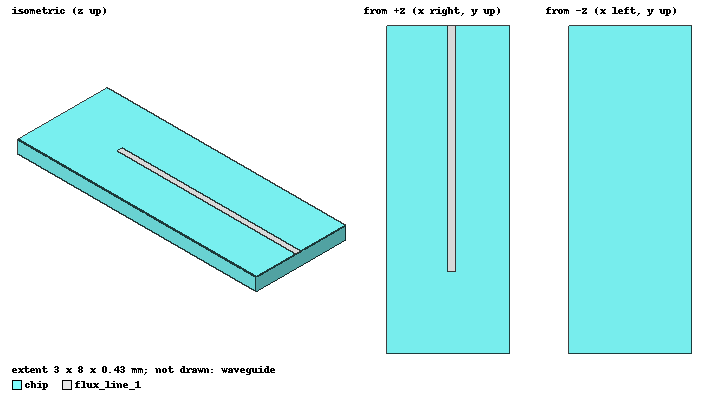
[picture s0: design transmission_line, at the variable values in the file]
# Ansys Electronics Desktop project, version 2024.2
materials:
  vacuum: permittivity=1
  sapphire: permittivity=10
  air: permittivity=1.0006 permeability=1.0000004
  perfect conductor: conductivity=1e+30
  copper: permeability=0.999991 conductivity=58000000

design filter_testchip_pogo (HFSS, HFSS Terminal Network, model units mm)
options: Save_Adaptive_support_files
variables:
  arm_radius = 2.75mm
  arm_holder_radius = 0.5mm
  chip_len = 22mm
  chip_width = 5.5mm
  chip_thickness = 0.43mm
  line_separation = 0um
  line_position = 1mm
  section1_width = 600um
  section1_length = 6.9mm
  section2_width = 30um
  section2_length = 2.8mm
  stub1_width = 200um
  stub1_length = 5mm
  stub2_width = 684um
  section3_length = 2.8mm
  section4_length = 6.9mm
  section4_width = 600um
  stub1_bendlength = 2.5mm
  port_tip_radius = 0.14mm
  port_pin_radius = 0.255mm
  port_tip_len = 1.685mm
  port_pin_len = 10.5mm
  port_waveguide_radius = 0.6mm
  port_y_position = 1.6mm
  terminal_len = 0.6mm
  terminal_width = 2mm
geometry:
  arm_holder_2 = cylinder(axis=Y, base_centre=(arm_radius, 0mm, 0), radius=arm_holder_radius, height=chip_len)
  arm_holder_1 = cylinder(axis=Y, base_centre=(-arm_radius, 0mm, 0), radius=arm_holder_radius, height=chip_len)
  chip [sapphire] = box(corner=(-0.5*chip_width, 0, -0.5*chip_thickness), size=(chip_width, chip_len, chip_thickness))
  coordinate_system chip_ref = origin=(0mm, 0, 0.5*chip_thickness) x=(1mm, 0mm, 0mm) y=(0mm, 1mm, 0mm)
  coordinate_system line_terminal_ref = origin=(line_position, chip_len-port_y_position+terminal_len/2, 0) x=(1mm, 0mm, 0mm) y=(0mm, 1mm, 0mm) in chip_ref
  waveguide [vacuum] = box(corner=(-arm_radius, 0, -arm_holder_radius), size=(2*arm_radius, chip_len, 2*arm_holder_radius))
  waveguide.unite(arm_holder_1, arm_holder_2)
  flux_line_section1 = rectangle(corner=(0, 0mm, 0mm), x_size=(section1_width-line_separation)/2, y_size=-section1_length) in line_terminal_ref
  signal_line = rectangle(corner=((section1_width + line_separation)/2, 0mm, 0mm), x_size=(section1_width-line_separation)/2, y_size=-section1_length) in line_terminal_ref
  flux_line_section1.unite(signal_line)
  flux_line_section4 = rectangle(corner=(0, - section1_length -section2_length-section3_length, 0mm), x_size=(section4_width-line_separation)/2, y_size=-section4_length) in line_terminal_ref
  signal_line3 = rectangle(corner=((section4_width + line_separation)/2, - section1_length -section2_length-section3_length, 0mm), x_size=(section4_width-line_separation)/2, y_size=-section4_length) in line_terminal_ref
  flux_line_section4.unite(signal_line3)
  terminal_port1 = rectangle(corner=(0, 0mm, 0mm), x_size=-terminal_width, y_size=-terminal_len) in line_terminal_ref
  coordinate_system port_1_ref = origin=(0mm, chip_len - port_y_position, 0mm) x=(1mm, 0mm, 0mm) y=(0mm, 1mm, 0mm) in chip_ref
  pin_port1 [perfect conductor] = cylinder(axis=Z, base_centre=(0mm, 0mm, port_tip_len), radius=port_pin_radius, height=port_pin_len) in port_1_ref
  waveguide_pin_port1 = cylinder(axis=Z, base_centre=(0mm, 0mm, 0mm), radius=port_waveguide_radius, height=port_pin_len + port_tip_len) in port_1_ref
  coordinate_system port_2_ref = origin=(0mm, port_y_position, 0mm) x=(1mm, 0mm, 0mm) y=(0mm, 1mm, 0mm) in chip_ref
  pin_port2_tip [perfect conductor] = cylinder(axis=Z, base_centre=(0, 0, 0), radius=port_tip_radius, height=port_tip_len) in port_2_ref
  terminal_port2 = rectangle(corner=(0, - (section1_length + section2_length + section3_length + section4_length), 0mm), x_size=-terminal_width, y_size=terminal_len) in line_terminal_ref
  waveguide_pin_port2 = cylinder(axis=Z, base_centre=(0, 0, 0), radius=port_waveguide_radius, height=port_pin_len + port_tip_len) in port_2_ref
  Polyline1 = polyline(z=0mm, xy: (0mm, -section1_length) (-stub1_bendlength, -section1_length) (-stub1_bendlength, -section1_length + (stub1_length - stub1_bendlength-1mm)) (-stub1_bendlength+1.2mm, -section1_length + (stub1_length - stub1_bendlength-1mm))) in line_terminal_ref
  stub1 = polyline((0, -section1_length - stub1_width/2, 0mm) (0mm, -section1_length + stub1_width/2, 0mm)) in line_terminal_ref
  stub1.sweep_along_path(Polyline1)
  section2 = polyline((0, -section1_length, 0mm) (section2_width, -section1_length, 0mm)) in line_terminal_ref
  Polyline4 = polyline(z=0mm, xy: (section2_width/2, -section1_length) (section2_width/2, -section1_length -0.75mm) (section2_width/2+1.05mm, -section1_length -0.75mm) (section2_width/2+1.05mm, -section1_length -1.7mm) (section2_width/2, -section1_length -1.7mm) (section2_width/2, -section1_length -2.8mm)) in line_terminal_ref
  section2.sweep_along_path(Polyline4)
  section3 = polyline((0, -section1_length-section2_length, 0mm) (section2_width, -section1_length-section2_length, 0mm)) in line_terminal_ref
  Polyline6 = polyline(z=0mm, xy: (section2_width/2, -section1_length-section2_length) (section2_width/2, -section1_length-section2_length -0.75mm) (section2_width/2+1.05mm, -section1_length-section2_length -0.75mm) (section2_width/2+1.05mm, -section1_length -section2_length-1.7mm) (section2_width/2, -section1_length-section2_length -1.7mm) (section2_width/2, -section1_length-section2_length -2.8mm)) in line_terminal_ref
  section3.sweep_along_path(Polyline6)
  stub3 = polyline((0, -section1_length-section2_length-section3_length - stub1_width/2, 0mm) (0mm, -section1_length-section2_length-section3_length + stub1_width/2, 0mm)) in line_terminal_ref
  Polyline8 = polyline(z=0mm, xy: (0mm, -section1_length-section2_length-section3_length) (-stub1_bendlength, -section1_length-section2_length-section3_length) (-stub1_bendlength, -section1_length-section2_length-section3_length + (stub1_length - stub1_bendlength-1.0mm)) (-stub1_bendlength +1.2mm, -section1_length-section2_length-section3_length + (stub1_length - stub1_bendlength-1.0mm))) in line_terminal_ref
  stub3.sweep_along_path(Polyline8)
  waveguide.unite(waveguide_pin_port2, waveguide_pin_port1)
  Polyline9 = polyline(z=0mm, xy: (0mm, -section1_length-section2_length) (-2.8mm, -section1_length-section2_length) (-2.8mm, -section1_length-section2_length + 1.5mm) (-0.9mm, -section1_length-section2_length + 1.5mm)) in line_terminal_ref
  stub2 = polyline((0mm, -section1_length-section2_length-stub2_width/2, 0mm) (0mm, -section1_length-section2_length+stub2_width/2, 0mm)) in line_terminal_ref
  stub2.sweep_along_path(Polyline9)
  pin_port2 [perfect conductor] = cylinder(axis=Z, base_centre=(0, 0, port_tip_len), radius=port_pin_radius, height=port_pin_len) in port_2_ref
  pin_port1_tip [perfect conductor] = cylinder(axis=Z, base_centre=(0mm, 0mm, 0mm), radius=port_tip_radius, height=port_tip_len) in port_1_ref
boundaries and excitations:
  section1_PerfE: Perfect E Objects=flux_line_section1
  waveguide_PerfE: Perfect E Objects=waveguide
  terminal1_PerfE: Perfect E Objects=terminal_port1
  section2_PerfE: Perfect E Objects=flux_line_section4
  terminal2_PerfE: Perfect E Objects=terminal_port2
  filter_PerfE: Perfect E Objects=[stub2, stub1, section2, section3, stub3]
  pin_port1_T1: Terminal port=1 Faces=pin_port1.face(at (0, 20.4, 12.4)) TerminalResistance=50ohm
  pin_port2_T1: Terminal port=2 Faces=pin_port2.face(at (0, 1.6, 12.4)) TerminalResistance=50ohm
  1: Wave Port Faces=waveguide.face(at (0, 20.4, 12.4)) WavePortType=Terminal NumModes=1
  2: Wave Port Faces=waveguide.face(at (0, 1.6, 12.4)) WavePortType=Terminal NumModes=1
  reference conductors: waveguide
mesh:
  section1_mesh: LengthBased Objects=flux_line_section1 MaxLength=100um
  chip_mesh: LengthBased Faces=chip.face(+z) MaxLength=0.5mm
  section4_mesh: LengthBased Objects=flux_line_section4 MaxLength=100um
  terminals_mesh: LengthBased Objects=[terminal_port2, terminal_port1] MaxLength=100um
  stubs13_mesh: LengthBased Objects=[stub3, stub1] MaxLength=100um
  stub2_mesh: LengthBased Objects=stub2 MaxLength=100um
  sections23_mesh: LengthBased Objects=[section2, section3] MaxLength=10um
  waveguide_mesh: LengthBased Objects=waveguide MaxLength=1mm
  initial mesh: MeshMethod=AnsoftClassic
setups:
  Setup1: HfssDriven Frequency=10GHz MaxDeltaS=0.02 MaximumPasses=6 MinimumPasses=1 MinimumConvergedPasses=1 PercentRefinement=30 BasisOrder=-1 PortAccuracy=2 DrivenSolverType="Direct Solver"
    sweep Sweep: 100MHz to 10GHz, 601 points; Type=Interpolating InterpTolerance=0.5 InterpMaxSolns=250 InterpUsePortImped=false InterpUsePropConst=false PassivityErrorTolerance=0.0001
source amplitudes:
  1:1: 1V 0deg
  2:1: 0V 0deg
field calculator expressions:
  Efieldnormal_cb = Fundamental_Quantity(0) | 0 | AtPhase | Normal | Dot
  Evector_normal = Normal | Fundamental_Quantity(0) | 0 | AtPhase | Normal | Dot | *
  Evector_tangent = Fundamental_Quantity(0) | Evector_normal | -
  Efieldtangent_cb = Evector_tangent | Mag
  impedance_line = Fundamental_Quantity(0) | Smooth | CmplxMag | Vector_Constant(0, 1, 0) | Cross | Mag | <Hx,Hy,Hz> | Smooth | CmplxMag | Vector_Constant(0, 1, 0) | Cross | Mag | /
  impedance_line_z = Fundamental_Quantity(0) | Smooth | CmplxMag | Vector_Constant(0, 0, 1) | Cross | Mag | <Hx,Hy,Hz> | Smooth | CmplxMag | Vector_Constant(0, 0, 1) | Cross | Mag | /
  E_circle_normal = Normal | Fundamental_Quantity(0) | Normal | Dot | *
  E_circle_tangent = Fundamental_Quantity(0) | E_circle_normal | -
  E_mag_circle_tangent = E_circle_tangent | 0 | AtPhase | Mag
  E_mag_circle_normal = E_circle_normal | 0 | AtPhase | Mag
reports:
  Terminal S Parameter Plot 1: dB(St(pin_port1_T1,pin_port1_T1)), dB(St(pin_port2_T1,pin_port1_T1)), dB(St(pin_port1_T1,pin_port2_T1)), dB(St(pin_port2_T1,pin_port2_T1)) vs Freq on Setup1 : Sweep; markers m1 at 6.634GHz, m2 at 5.9575GHz, m3 at 7.5415GHz

design transmission_line (HFSS, HFSS Terminal Network, model units mm)
options: Save_Adaptive_support_files
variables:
  arm_radius = 2mm
  arm_holder_radius = 1mm
  chip_length = 8mm
  chip_width = 3mm
  chip_thickness = 0.43mm
  line_separation = 50um
  line_position = 0mm
  section1_width = 400um
  section1_length = 6mm
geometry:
  coordinate_system arm_ref = origin=(0mm, 0, 0) x=(1mm, 0mm, 0mm) y=(0mm, 1mm, 0mm)
  arm_holder_2 = cylinder(axis=Y, base_centre=(arm_radius, 0mm, 0), radius=arm_holder_radius, height=chip_length) in arm_ref
  arm_holder_1 = cylinder(axis=Y, base_centre=(-arm_radius, 0mm, 0), radius=arm_holder_radius, height=chip_length) in arm_ref
  chip [sapphire] = box(corner=(-0.5*chip_width, 0, -0.5*chip_thickness), size=(chip_width, chip_length, chip_thickness)) in arm_ref
  coordinate_system chip_ref = origin=(0mm, 0, 0.5*chip_thickness) x=(1mm, 0mm, 0mm) y=(0mm, 1mm, 0mm) in arm_ref
  coordinate_system line_terminal_ref = origin=(line_position, chip_length, 0) x=(1mm, 0mm, 0mm) y=(0mm, 1mm, 0mm) in chip_ref
  waveguide [vacuum] = box(corner=(-arm_radius, 0, -arm_holder_radius), size=(2*arm_radius, chip_length, 2*arm_holder_radius)) in arm_ref
  waveguide.unite(arm_holder_1, arm_holder_2)
  flux_line_1 = rectangle(corner=(0, 0mm, 0mm), x_size=(section1_width-line_separation)/2, y_size=-section1_length) in line_terminal_ref
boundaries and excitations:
  flux_line_1_PerfE: Perfect E Objects=flux_line_1
  waveguide_PerfE: Perfect E Objects=waveguide
  flux_line_1_T1: Terminal port=1 Edges=flux_line_1.edge(at (0.0875, 8, 0.215)) TerminalResistance=50ohm
  1: Wave Port Faces=waveguide.face(at (0, 8, 0)) WavePortType=Terminal NumModes=1
  reference conductors: waveguide
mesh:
  flux_line_1_mesh: LengthBased Objects=flux_line_1 MaxLength=50um
  initial mesh: MeshMethod=AnsoftClassic
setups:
  Setup1: HfssDriven Frequency=10GHz MaxDeltaS=0.02 MaximumPasses=6 MinimumPasses=1 MinimumConvergedPasses=1 PercentRefinement=30 BasisOrder=1 PortAccuracy=2 DrivenSolverType="Direct Solver"
    sweep Sweep: 1GHz to 15GHz, 601 points; Type=Interpolating InterpTolerance=0.5 InterpMaxSolns=250 PassivityErrorTolerance=0.0001
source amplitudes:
  1:1: 1V 0deg
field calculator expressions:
  Efieldnormal_cb = Fundamental_Quantity(0) | 0 | AtPhase | Normal | Dot
  Evector_normal = Normal | Fundamental_Quantity(0) | 0 | AtPhase | Normal | Dot | *
  Evector_tangent = Fundamental_Quantity(0) | Evector_normal | -
  Efieldtangent_cb = Evector_tangent | Mag
  impedance_line = Fundamental_Quantity(0) | Smooth | CmplxMag | Vector_Constant(0, 1, 0) | Cross | Mag | <Hx,Hy,Hz> | Smooth | CmplxMag | Vector_Constant(0, 1, 0) | Cross | Mag | /
  impedance_line_z = Fundamental_Quantity(0) | Smooth | CmplxMag | Vector_Constant(0, 0, 1) | Cross | Mag | <Hx,Hy,Hz> | Smooth | CmplxMag | Vector_Constant(0, 0, 1) | Cross | Mag | /
  E_circle_normal = Normal | Fundamental_Quantity(0) | Normal | Dot | *
  E_circle_tangent = Fundamental_Quantity(0) | E_circle_normal | -
  E_mag_circle_tangent = E_circle_tangent | 0 | AtPhase | Mag
  E_mag_circle_normal = E_circle_normal | 0 | AtPhase | Mag
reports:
  Terminal Z Parameter Plot 1: re(Zt(flux_line_1_T1,flux_line_1_T1)), im(Zt(flux_line_1_T1,flux_line_1_T1)) vs Freq on Setup1 : Sweep
